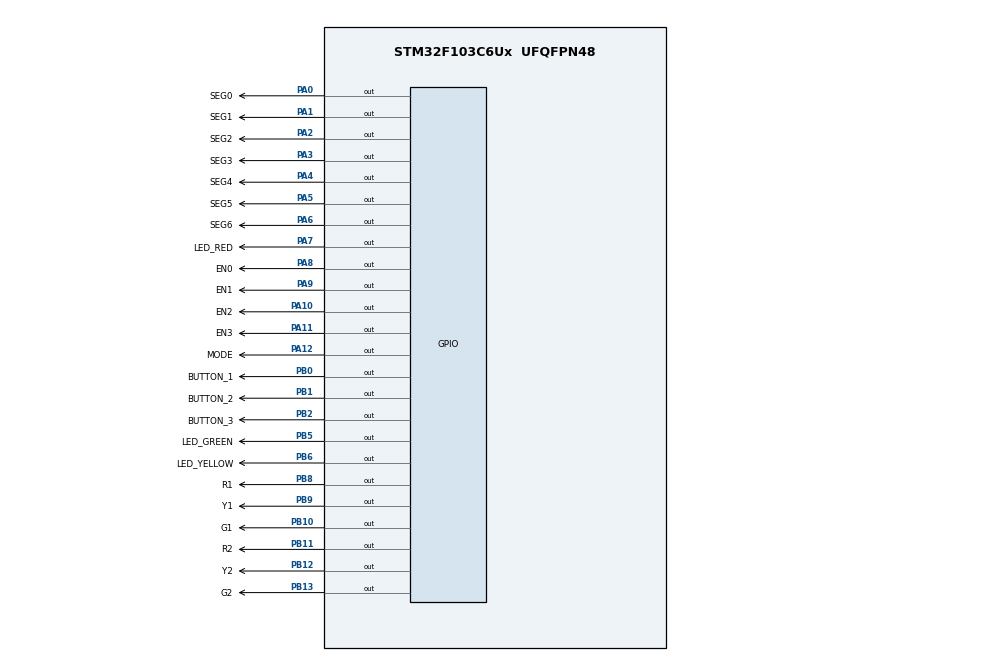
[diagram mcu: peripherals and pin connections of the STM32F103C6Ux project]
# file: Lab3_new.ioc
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Mcu.Family=STM32F1
Mcu.Name=STM32F103C6Ux
Mcu.Package=UFQFPN48
NVIC.PriorityGroup=NVIC_PRIORITYGROUP_4
NVIC.TIM2_IRQn=true\:0\:0\:false\:false\:true\:true\:true
PA0-WKUP.GPIO_Label=SEG0
PA0-WKUP.Signal=GPIO_Output
PA1.GPIO_Label=SEG1
PA1.Signal=GPIO_Output
PA10.GPIO_Label=EN2
PA10.Signal=GPIO_Output
PA11.GPIO_Label=EN3
PA11.Signal=GPIO_Output
PA12.GPIO_Label=MODE
PA12.Signal=GPIO_Output
PA2.GPIO_Label=SEG2
PA2.Signal=GPIO_Output
PA3.GPIO_Label=SEG3
PA3.Signal=GPIO_Output
PA4.GPIO_Label=SEG4
PA4.Signal=GPIO_Output
PA5.GPIO_Label=SEG5
PA5.Signal=GPIO_Output
PA6.GPIO_Label=SEG6
PA6.Signal=GPIO_Output
PA7.GPIO_Label=LED_RED
PA7.Signal=GPIO_Output
PA8.GPIO_Label=EN0
PA8.Signal=GPIO_Output
PA9.GPIO_Label=EN1
PA9.Signal=GPIO_Output
PB0.GPIO_Label=BUTTON_1
PB0.Signal=GPIO_Output
PB1.GPIO_Label=BUTTON_2
PB1.Signal=GPIO_Output
PB10.GPIO_Label=G1
PB10.Signal=GPIO_Output
PB11.GPIO_Label=R2
PB11.Signal=GPIO_Output
PB12.GPIO_Label=Y2
PB12.Signal=GPIO_Output
PB13.GPIO_Label=G2
PB13.Signal=GPIO_Output
PB2.GPIO_Label=BUTTON_3
PB2.Signal=GPIO_Output
PB5.GPIO_Label=LED_GREEN
PB5.Signal=GPIO_Output
PB6.GPIO_Label=LED_YELLOW
PB6.Signal=GPIO_Output
PB8.GPIO_Label=R1
PB8.Signal=GPIO_Output
PB9.GPIO_Label=Y1
PB9.Signal=GPIO_Output
ProjectManager.HeapSize=0x200
ProjectManager.StackSize=0x400
ProjectManager.TargetToolchain=STM32CubeIDE
RCC.APB1Freq_Value=8000000
RCC.APB2Freq_Value=8000000
TIM2.Period=9
TIM2.Prescaler=799
VP_SYS_VS_ND.Mode=No_Debug
VP_TIM2_VS_ClockSourceINT.Mode=Internal
board=custom

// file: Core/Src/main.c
/* USER CODE BEGIN Header */
/**
  ******************************************************************************
  * @file           : main.c
  * @brief          : Main program body
  ******************************************************************************
  * @attention
  *
  * <h2><center>&copy; Copyright (c) 2024 STMicroelectronics.
  * All rights reserved.</center></h2>
  *
  * This software component is licensed by ST under BSD 3-Clause license,
  * the "License"; You may not use this file except in compliance with the
  * License. You may obtain a copy of the License at:
  *                        opensource.org/licenses/BSD-3-Clause
  *
  ******************************************************************************
  */
/* USER CODE END Header */
#include "main.h"

/* USER CODE BEGIN Includes */
#include "timer.h"
#include "led_display.h"
#include "input_processing.h"
#include "input_reading.h"
/* USER CODE END Includes */

TIM_HandleTypeDef htim2;

void SystemClock_Config(void);
static void MX_TIM2_Init(void);
static void MX_GPIO_Init(void);

int main(void)
{

  /* MCU Configuration--------------------------------------------------------*/

  /* Reset of all peripherals, Initializes the Flash interface and the Systick. */
  HAL_Init();

  /* Configure the system clock */
  SystemClock_Config();

  /* Initialize all configured peripherals */
  MX_TIM2_Init();
  MX_GPIO_Init();
  /* USER CODE BEGIN 2 */
  HAL_TIM_Base_Start_IT(&htim2);
  /* USER CODE END 2 */

  /* Infinite loop */
  /* USER CODE BEGIN WHILE */
//  setTimer5(1);
  init_buffer();
  LedTimeDurationInit();
  setTimer1(1);
  setTimer2(1);
  setTimer3(1);
  while (1)
  {

	  UpdateMode();
	  	  if (get_timer2_flag()) {
	  		  LEDScanning();
	  		  setTimer2(1);
	  	  }

	  	  LedDispMode();
	  	  UpdateDurationValue();

	  if(get_timer3_flag())
	  {
		  HAL_GPIO_TogglePin(LED_RED_GPIO_Port, LED_RED_Pin);
		  setTimer3(500);
	  }

    /* USER CODE END WHILE */

  }
}

void SystemClock_Config(void)
{
  RCC_OscInitTypeDef RCC_OscInitStruct = {0};
  RCC_ClkInitTypeDef RCC_ClkInitStruct = {0};

  /** Initializes the RCC Oscillators according to the specified parameters
  * in the RCC_OscInitTypeDef structure.
  */
  RCC_OscInitStruct.OscillatorType = RCC_OSCILLATORTYPE_HSI;
  RCC_OscInitStruct.HSIState = RCC_HSI_ON;
  RCC_OscInitStruct.HSICalibrationValue = RCC_HSICALIBRATION_DEFAULT;
  RCC_OscInitStruct.PLL.PLLState = RCC_PLL_NONE;
  if (HAL_RCC_OscConfig(&RCC_OscInitStruct) != HAL_OK)
  {
    Error_Handler();
  }
  /** Initializes the CPU, AHB and APB buses clocks
  */
  RCC_ClkInitStruct.ClockType = RCC_CLOCKTYPE_HCLK|RCC_CLOCKTYPE_SYSCLK
                              |RCC_CLOCKTYPE_PCLK1|RCC_CLOCKTYPE_PCLK2;
  RCC_ClkInitStruct.SYSCLKSource = RCC_SYSCLKSOURCE_HSI;
  RCC_ClkInitStruct.AHBCLKDivider = RCC_SYSCLK_DIV1;
  RCC_ClkInitStruct.APB1CLKDivider = RCC_HCLK_DIV1;
  RCC_ClkInitStruct.APB2CLKDivider = RCC_HCLK_DIV1;

  if (HAL_RCC_ClockConfig(&RCC_ClkInitStruct, FLASH_LATENCY_0) != HAL_OK)
  {
    Error_Handler();
  }
}

static void MX_TIM2_Init(void)
{

  TIM_ClockConfigTypeDef sClockSourceConfig = {0};
  TIM_MasterConfigTypeDef sMasterConfig = {0};

  htim2.Instance = TIM2;
  htim2.Init.Prescaler = 799;
  htim2.Init.CounterMode = TIM_COUNTERMODE_UP;
  htim2.Init.Period = 9;
  htim2.Init.ClockDivision = TIM_CLOCKDIVISION_DIV1;
  htim2.Init.AutoReloadPreload = TIM_AUTORELOAD_PRELOAD_DISABLE;
  if (HAL_TIM_Base_Init(&htim2) != HAL_OK)
  {
    Error_Handler();
  }
  sClockSourceConfig.ClockSource = TIM_CLOCKSOURCE_INTERNAL;
  if (HAL_TIM_ConfigClockSource(&htim2, &sClockSourceConfig) != HAL_OK)
  {
    Error_Handler();
  }
  sMasterConfig.MasterOutputTrigger = TIM_TRGO_RESET;
  sMasterConfig.MasterSlaveMode = TIM_MASTERSLAVEMODE_DISABLE;
  if (HAL_TIMEx_MasterConfigSynchronization(&htim2, &sMasterConfig) != HAL_OK)
  {
    Error_Handler();
  }

}

static void MX_GPIO_Init(void)
{
  GPIO_InitTypeDef GPIO_InitStruct = {0};

  /* GPIO Ports Clock Enable */
  __HAL_RCC_GPIOA_CLK_ENABLE();
  __HAL_RCC_GPIOB_CLK_ENABLE();

  /*Configure GPIO pin Output Level */
  HAL_GPIO_WritePin(GPIOA, SEG0_Pin|SEG1_Pin|SEG2_Pin|SEG3_Pin
                          |SEG4_Pin|SEG5_Pin|SEG6_Pin|LED_RED_Pin
                          |EN0_Pin|EN1_Pin|EN2_Pin|EN3_Pin
                          |MODE_Pin|LED_GREEN_Pin|LED_YELLOW_Pin, GPIO_PIN_RESET);

  /*Configure GPIO pin Output Level */
  HAL_GPIO_WritePin(GPIOB, G1_Pin|R2_Pin|Y2_Pin|G2_Pin
                          |R1_Pin|Y1_Pin, GPIO_PIN_RESET);

  /*Configure GPIO pins : SEG0_Pin SEG1_Pin SEG2_Pin SEG3_Pin
                           SEG4_Pin SEG5_Pin SEG6_Pin LED_RED_Pin
                           EN0_Pin EN1_Pin EN2_Pin EN3_Pin
                           MODE_Pin LED_GREEN_Pin LED_YELLOW_Pin */
  GPIO_InitStruct.Pin = SEG0_Pin|SEG1_Pin|SEG2_Pin|SEG3_Pin
                          |SEG4_Pin|SEG5_Pin|SEG6_Pin|LED_RED_Pin
                          |EN0_Pin|EN1_Pin|EN2_Pin|EN3_Pin
                          |MODE_Pin|LED_GREEN_Pin|LED_YELLOW_Pin;
  GPIO_InitStruct.Mode = GPIO_MODE_OUTPUT_PP;
  GPIO_InitStruct.Pull = GPIO_NOPULL;
  GPIO_InitStruct.Speed = GPIO_SPEED_FREQ_LOW;
  HAL_GPIO_Init(GPIOA, &GPIO_InitStruct);

  /*Configure GPIO pins : BUTTON_1_Pin BUTTON_2_Pin BUTTON_3_Pin */
  GPIO_InitStruct.Pin = BUTTON_1_Pin|BUTTON_2_Pin|BUTTON_3_Pin;
  GPIO_InitStruct.Mode = GPIO_MODE_INPUT;
  GPIO_InitStruct.Pull = GPIO_NOPULL;
  HAL_GPIO_Init(GPIOB, &GPIO_InitStruct);

  /*Configure GPIO pins : G1_Pin R2_Pin Y2_Pin G2_Pin
                           R1_Pin Y1_Pin */
  GPIO_InitStruct.Pin = G1_Pin|R2_Pin|Y2_Pin|G2_Pin
                          |R1_Pin|Y1_Pin;
  GPIO_InitStruct.Mode = GPIO_MODE_OUTPUT_PP;
  GPIO_InitStruct.Pull = GPIO_NOPULL;
  GPIO_InitStruct.Speed = GPIO_SPEED_FREQ_LOW;
  HAL_GPIO_Init(GPIOB, &GPIO_InitStruct);

}

/* USER CODE BEGIN 4 */
void HAL_TIM_PeriodElapsedCallback ( TIM_HandleTypeDef * htim )
{
	timer_run();
	button_reading();
}
/* USER CODE END 4 */

void Error_Handler(void)
{
  __disable_irq();
  while (1)
  {
  }
}

/************************ (C) COPYRIGHT STMicroelectronics *****END OF FILE****/
